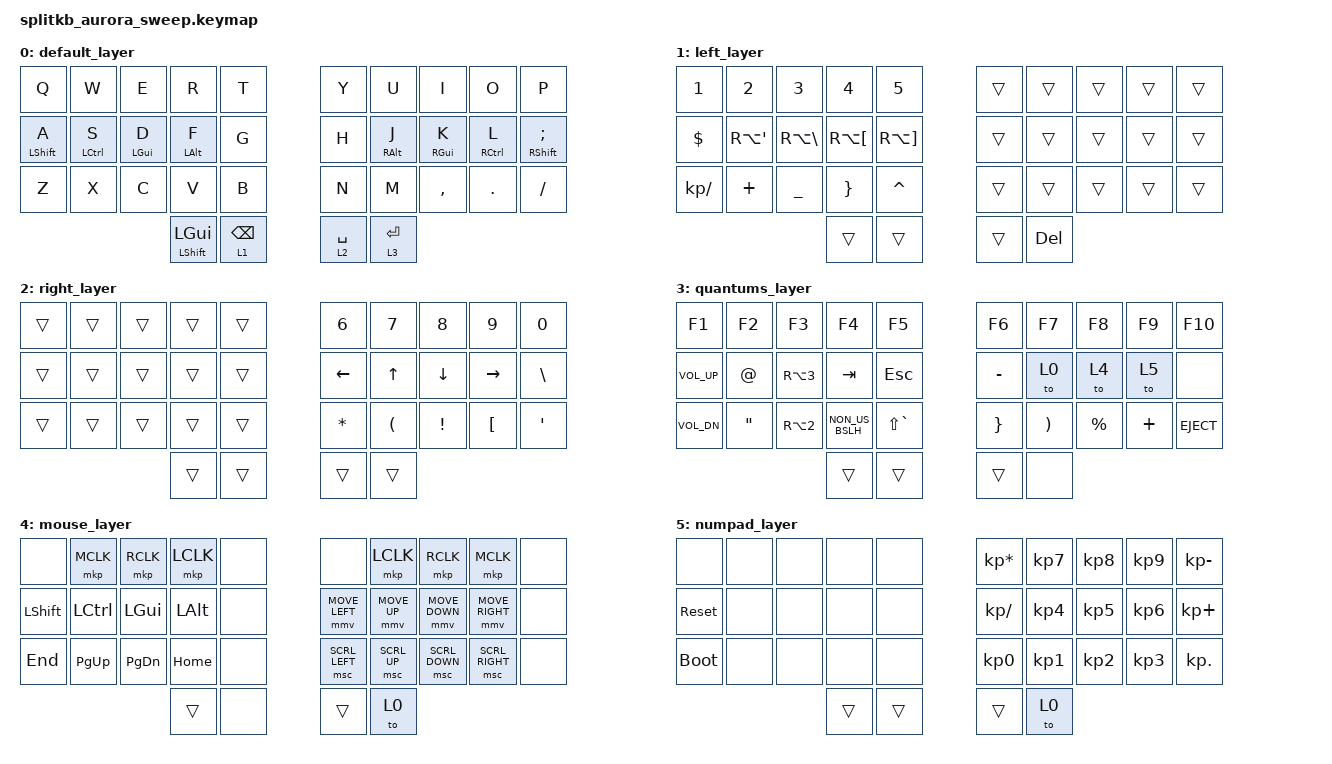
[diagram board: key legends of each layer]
/*
 * Copyright (c) 2022 The ZMK Contributors
 *
 * SPDX-License-Identifier: MIT
 */

#include <behaviors.dtsi>
#include <dt-bindings/zmk/keys.h>
#include <dt-bindings/zmk/pointing.h>

/ {
    keymap {
        compatible = "zmk,keymap";

        default_layer {
            bindings = <
&kp Q           &kp W        &kp E       &kp R       &kp T    &kp Y  &kp U       &kp I       &kp O        &kp P
&mt LSHFT A     &mt LCTRL S  &mt LGUI D  &mt LALT F  &kp G    &kp H  &mt RALT J  &mt RGUI K  &mt RCTRL L  &mt RSHIFT SEMI
&kp Z           &kp X        &kp C       &kp V       &kp B    &kp N  &kp M       &kp COMMA   &kp DOT      &kp SLASH
&mt LSHFT LGUI  &lt 1 BSPC                                                                   &lt 2 SPACE  &lt 3 ENTER
            >;
        };

        left_layer {
            bindings = <
&kp N1         &kp N2       &kp N3        &kp N4        &kp N5          &trans  &trans  &trans  &trans  &trans
&kp DLLR       &kp RA(SQT)  &kp RA(BSLH)  &kp RA(LBKT)  &kp RA(RBKT)    &trans  &trans  &trans  &trans  &trans
&kp KP_DIVIDE  &kp PLUS     &kp UNDER     &kp RBRC      &kp CARET       &trans  &trans  &trans  &trans  &trans
&trans         &trans                                                                           &trans  &kp DEL
            >;
        };

        right_layer {
            bindings = <
&trans  &trans  &trans  &trans  &trans    &kp N6     &kp N7    &kp N8    &kp N9     &kp N0
&trans  &trans  &trans  &trans  &trans    &kp LEFT   &kp UP    &kp DOWN  &kp RIGHT  &kp BSLH
&trans  &trans  &trans  &trans  &trans    &kp ASTRK  &kp LPAR  &kp EXCL  &kp LBKT   &kp SQT
&trans  &trans                                                           &trans     &trans
            >;
        };

        quantums_layer {
            bindings = <
&kp F1        &kp F2   &kp F3      &kp F4           &kp F5           &kp F6     &kp F7    &kp F8     &kp F9    &kp F10
&kp K_VOL_UP  &kp AT   &kp RA(N3)  &kp TAB          &kp ESC          &kp MINUS  &to 0     &to 4      &to 5     &none
&kp K_VOL_DN  &kp DQT  &kp RA(N2)  &kp NON_US_BSLH  &kp LS(GRAVE)    &kp RBRC   &kp RPAR  &kp PRCNT  &kp PLUS  &kp K_EJECT
&trans        &trans                                                                                 &trans    &none
            >;
        };

        mouse_layer {
            bindings = <
&none      &mkp MCLK    &mkp RCLK      &mkp LCLK  &none    &none           &mkp LCLK     &mkp RCLK       &mkp MCLK        &none
&kp LSHFT  &kp LCTRL    &kp LGUI       &kp LALT   &none    &mmv MOVE_LEFT  &mmv MOVE_UP  &mmv MOVE_DOWN  &mmv MOVE_RIGHT  &none
&kp END    &kp PAGE_UP  &kp PAGE_DOWN  &kp HOME   &none    &msc SCRL_LEFT  &msc SCRL_UP  &msc SCRL_DOWN  &msc SCRL_RIGHT  &none
&trans     &none                                                                                         &trans           &to 0
            >;
        };

        numpad_layer {
            bindings = <
&none        &none   &none  &none  &none    &kp KP_ASTERISK  &kp KP_N7  &kp KP_N8  &kp KP_N9  &kp KP_MINUS
&sys_reset   &none   &none  &none  &none    &kp KP_DIVIDE    &kp KP_N4  &kp KP_N5  &kp KP_N6  &kp KP_PLUS
&bootloader  &none   &none  &none  &none    &kp KP_N0        &kp KP_N1  &kp KP_N2  &kp KP_N3  &kp KP_DOT
&trans       &trans                                                                &trans     &to 0
            >;
        };
    };
};
